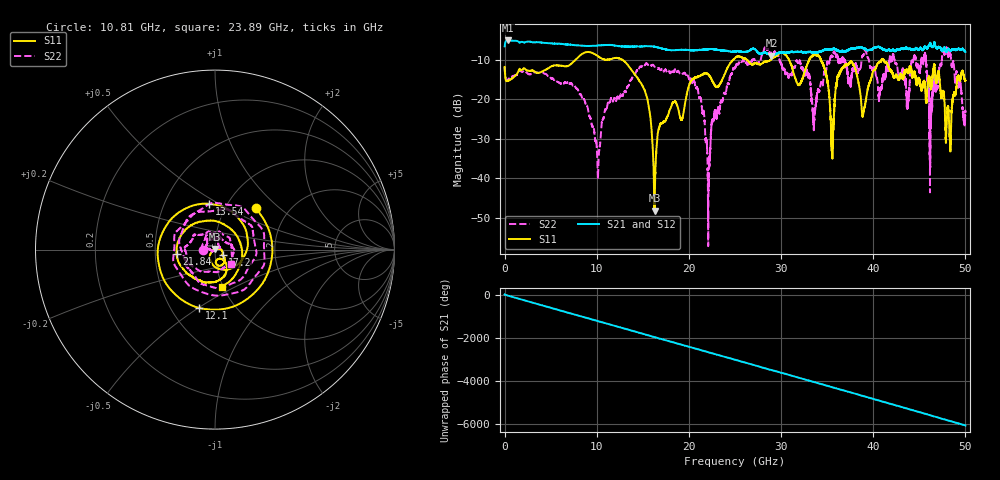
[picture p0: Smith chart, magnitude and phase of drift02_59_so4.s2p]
!Created with skrf (http://scikit-rf.org).
# Hz S RI R 50.0
!freq ReS11 ImS11 ReS21 ImS21 ReS12 ImS12 ReS22 ImS22
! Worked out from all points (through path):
!   10001 points, 300 kHz to 50 GHz, reference 50 ohm
!   highest |S21| = -5.04 dB at 325.3 MHz (marker M1); lowest = -8.9 dB at 28.96 GHz (marker M2)
!   group delay of S21, straight-line fit = 336 ps
!   lowest |S11| = -48.2 dB at 16.27 GHz (marker M3), VSWR 1.01, Z = 49.9 + j0.374 ohm
!   |S11| at or under -10 dB: start of sweep to 7.667 GHz; 12.82 GHz to 24.78 GHz (11.96 GHz wide, 63.6 % of centre); 41.13 GHz to end of sweep (the widest 3 of 10)
!   |S22| runs from -57.2 to -6.7 dB; largest |S21 - S12| = 0.031
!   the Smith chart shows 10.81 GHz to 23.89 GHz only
!   S11 on the Smith chart (normalised r, x): 10.81 GHz: 1.38, +0.70; 12.1 GHz: 0.69, -0.50; 13.54 GHz: 0.82, +0.45; 17.2 GHz: 1.09, -0.07; 21.84 GHz: 0.65, -0.03; 23.89 GHz: 0.99, -0.43
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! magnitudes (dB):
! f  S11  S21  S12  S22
! 300 kHz  -11.7  -6.5  -6.5  -11.7
! 325.3 MHz  -15.3  -5.0  -5.0  -15.1
! 8.335 GHz  -8.6  -6.4  -6.4  -19.1
! 10.11 GHz  -9.0  -6.3  -6.3  -39.1
! 10.81 GHz  -9.8  -6.2  -6.2  -23.6
! 12.1 GHz  -9.5  -6.4  -6.4  -20.4
! 13.54 GHz  -11.8  -6.6  -6.6  -15.8
! 16.27 GHz  -48.2  -6.6  -6.6  -11.7
! 16.67 GHz  -27.8  -6.8  -6.8  -12.1
! 17.2 GHz  -25.7  -7.2  -7.1  -12.7
! 21.84 GHz  -13.3  -7.3  -7.3  -30.4
! 23.89 GHz  -13.6  -7.6  -7.6  -18.5
! 25 GHz  -9.5  -7.8  -7.8  -12.0
! 28.96 GHz  -9.8  -8.9  -8.8  -8.0
! 33.34 GHz  -9.0  -8.0  -8.0  -20.0
! 35.55 GHz  -31.2  -7.2  -7.2  -9.2
! 36.78 GHz  -11.9  -7.9  -7.9  -9.6
! 41.67 GHz  -11.8  -7.4  -7.5  -12.0
! 45.5 GHz  -15.6  -7.0  -7.0  -9.7
! 46.25 GHz  -17.5  -6.1  -6.1  -21.7
! 48.12 GHz  -21.8  -7.2  -7.1  -8.9
! 50 GHz  -15.1  -7.9  -7.9  -23.4
